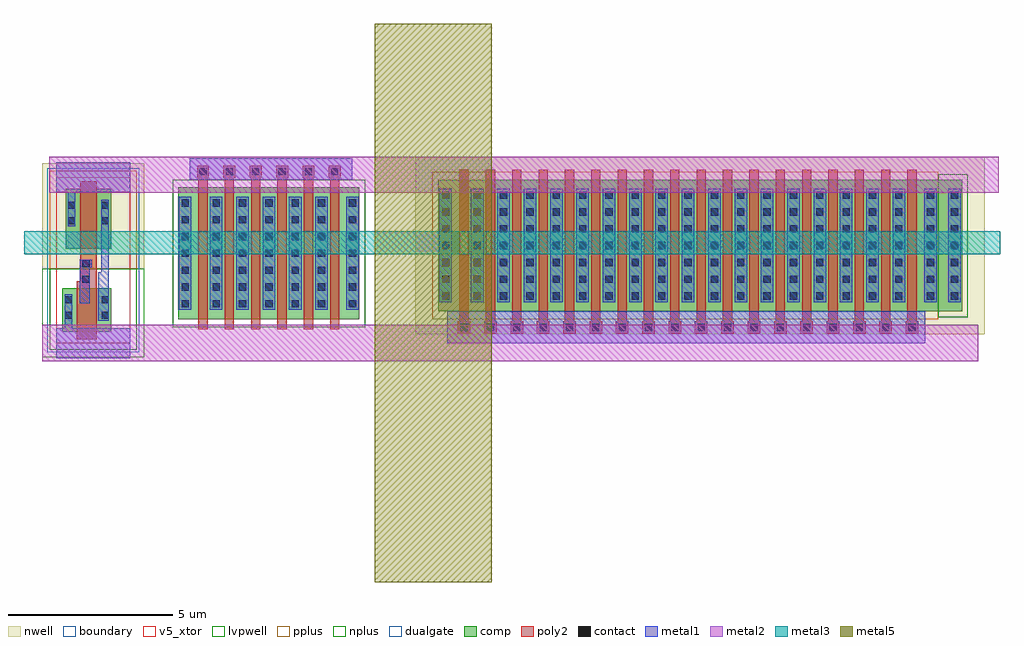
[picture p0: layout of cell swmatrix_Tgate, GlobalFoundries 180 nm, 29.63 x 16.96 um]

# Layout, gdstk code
import gdstk
lib = gdstk.Library(unit=1e-6, precision=1e-09)
def R(c, l, rs):  # rectangles x0, y0, x1, y1
    for r in rs: c.add(gdstk.rectangle(r[:2], r[2:], *l))
def A(c, l, x, y, w, h, nx, ny, dx, dy):  # array of equal rectangles
    R(c, l, [(x+i*dx, y+j*dy, x+i*dx+w, y+j*dy+h) for i in range(nx) for j in range(ny)])
def P(c, l, *ps):  # polygons
    for p in ps: c.add(gdstk.Polygon(p, *l))
boundary = (0, 0)
nwell = (21, 0)
comp = (22, 0)
poly2 = (30, 0)
pplus = (31, 0)
nplus = (32, 0)
contact = (33, 0)
metal1 = (34, 0)
metal2 = (36, 0)
metal3 = (42, 0)
dualgate = (55, 0)
metal5 = (81, 0)
v5_xtor = (112, 1)
lvpwell = (204, 0)

gf180mcu_fd_sc_mcu9t5v0_ = lib.new_cell('gf180mcu_fd_sc_mcu9t5v0__inv_1')
R(gf180mcu_fd_sc_mcu9t5v0_, boundary, [(0,0,2.24,5.04)])
R(gf180mcu_fd_sc_mcu9t5v0_, nwell, [(-0.43,2.265,2.67,5.47)])
R(gf180mcu_fd_sc_mcu9t5v0_, comp, [(0.18,0.345,1.66,1.665), (0.28,2.865,1.66,4.695)])
P(gf180mcu_fd_sc_mcu9t5v0_, poly2, [(0.62,0.125),(0.62,1.885),(0.72,1.885),(0.72,4.915),(1.22,4.915),(1.22,0.125)])
R(gf180mcu_fd_sc_mcu9t5v0_, pplus, [(-0.2,2.265,2.44,5.24)])
R(gf180mcu_fd_sc_mcu9t5v0_, nplus, [(-0.2,-0.2,2.44,2.265)])
R(gf180mcu_fd_sc_mcu9t5v0_, contact, [(0.25,0.74,0.47,0.96), (1.37,0.74,1.59,0.96), (0.25,1.21,0.47,1.43), (1.37,1.21,1.59,1.43), (0.79,1.835,1.01,2.055), (0.79,2.305,1.01,2.525), (0.35,3.61,0.57,3.83), (1.37,3.61,1.59,3.83), (0.35,4.08,0.57,4.3), (1.37,4.08,1.59,4.3)])
P(gf180mcu_fd_sc_mcu9t5v0_, metal1, [(0.71,1.21),(0.71,2.53),(1.07,2.53),(1.07,2.3),(1.015,2.3),(1.015,1.21)],
  [(1.27,0.68),(1.27,2.15),(1.365,2.15),(1.365,4.36),(1.595,4.36),(1.595,0.68)],
  [(0,-0.45),(0,0.45),(0.245,0.45),(0.245,1.49),(0.475,1.49),(0.475,0.45),(2.24,0.45),(2.24,-0.45)],
  [(0.345,3.55),(0.345,4.59),(0,4.59),(0,5.49),(2.24,5.49),(2.24,4.59),(0.575,4.59),(0.575,3.55)])
R(gf180mcu_fd_sc_mcu9t5v0_, dualgate, [(-0.28,-0.28,2.52,5.32)])
R(gf180mcu_fd_sc_mcu9t5v0_, v5_xtor, [(0,0,2.24,5.04)])
R(gf180mcu_fd_sc_mcu9t5v0_, lvpwell, [(-0.43,-0.43,2.67,2.265)])
gf180mcu_fd_sc_mcu9t5v0_.add(gdstk.Label('I', (0.84,1.96), layer=34, texttype=10))
gf180mcu_fd_sc_mcu9t5v0_.add(gdstk.Label('VDD', (1.12,5.49), layer=34, texttype=10))
gf180mcu_fd_sc_mcu9t5v0_.add(gdstk.Label('VSS', (1.12,-0.45), layer=34, texttype=10))
gf180mcu_fd_sc_mcu9t5v0_.add(gdstk.Label('ZN', (1.4,1.96), layer=34, texttype=10))
gf180mcu_fd_sc_mcu9t5v0_.add(gdstk.Label('& Vendor GLOBALFOUNDRIES', (0,2), layer=63, texttype=63))
gf180mcu_fd_sc_mcu9t5v0_.add(gdstk.Label('& Product GF018hv5v_green_sc9', (0,1.5), layer=63, texttype=63))
gf180mcu_fd_sc_mcu9t5v0_.add(gdstk.Label('& Version 2015q2v2', (0,1), layer=63, texttype=63))
gf180mcu_fd_sc_mcu9t5v0_.add(gdstk.Label('& Metric 1.00', (0,0.5), layer=63, texttype=63))
gf180mcu_fd_sc_mcu9t5v0_.add(gdstk.Label('VNW', (0.345,3.92), layer=21, texttype=10))
gf180mcu_fd_sc_mcu9t5v0_.add(gdstk.Label('VPW', (0.34,-0.085), layer=204, texttype=10))

nfet_1 = lib.new_cell('nfet$1')
R(nfet_1, comp, [(-0.42,0,0,4), (0,0,4.66,4), (4.66,0,5.08,4)])
A(nfet_1, poly2, 0.19, -0.3, 0.28, 4.6, 6, 1, 0.8, 0)
A(nfet_1, poly2, 0.15, 4.3, 0.36, 0.36, 6, 1, 0.8, 0)
R(nfet_1, nplus, [(-0.59,-0.24,5.25,4.24)])
A(nfet_1, contact, -0.32, 0.36, 0.22, 0.22, 1, 7, 0, 0.51)
A(nfet_1, contact, 0.62, 0.36, 0.22, 0.22, 5, 7, 0.8, 0.51)
A(nfet_1, contact, 4.76, 0.36, 0.22, 0.22, 1, 7, 0, 0.51)
A(nfet_1, contact, 0.22, 4.37, 0.22, 0.22, 6, 1, 0.8, 0)
A(nfet_1, metal1, 0.54, 0.28, 0.38, 3.44, 5, 1, 0.8, 0)
A(nfet_1, metal1, 0.14, 4.289, 0.38, 0.382, 6, 1, 0.8, 0)
R(nfet_1, metal1, [(-0.4,0.28,-0.02,3.72), (4.68,0.28,5.06,3.72)])

pfet_1 = lib.new_cell('pfet$1')
R(pfet_1, nwell, [(-1.15,-0.69,16.14,4.69)])
R(pfet_1, comp, [(-0.46,0,0,4), (0,0,14.26,4), (14.26,0,14.72,4), (14.72,0,15.45,4)])
A(pfet_1, poly2, 0.19, -0.3, 0.28, 4.6, 18, 1, 0.8, 0)
A(pfet_1, poly2, 0.14, 4.3, 0.38, 0.38, 18, 1, 0.8, 0)
R(pfet_1, pplus, [(-0.63,-0.24,14.72,4.24)])
R(pfet_1, nplus, [(14.72,-0.17,15.62,4.17)])
A(pfet_1, contact, -0.34, 0.36, 0.22, 0.22, 1, 7, 0, 0.51)
A(pfet_1, contact, 0.62, 0.36, 0.22, 0.22, 17, 7, 0.8, 0.51)
A(pfet_1, contact, 14.38, 0.36, 0.22, 0.22, 1, 7, 0, 0.51)
A(pfet_1, contact, 15.11, 0.36, 0.22, 0.22, 1, 7, 0, 0.51)
A(pfet_1, contact, 0.22, 4.38, 0.22, 0.22, 18, 1, 0.8, 0)
A(pfet_1, metal1, 0.54, 0.28, 0.38, 3.44, 17, 1, 0.8, 0)
A(pfet_1, metal1, 0.14, 4.299, 0.38, 0.382, 18, 1, 0.8, 0)
R(pfet_1, metal1, [(-0.42,0.28,-0.04,3.72), (14.3,0.28,14.68,3.72), (15.03,0.28,15.41,3.72)])

swmatrix_tgate = lib.new_cell('swmatrix_Tgate')
R(swmatrix_tgate, metal1, [(3.14,2.87,17.65,3.84), (-4.68,7.845,0.25,8.485)])
R(swmatrix_tgate, metal2, [(-9.155,2.33,19.255,3.43), (-8.94,7.445,19.875,8.545)])
R(swmatrix_tgate, metal3, [(-9.71,5.57,19.92,6.28)])
R(swmatrix_tgate, metal5, [(0.935,-4.385,4.49,12.58)])
swmatrix_tgate.add(gdstk.Reference(gf180mcu_fd_sc_mcu9t5v0_, (-8.725,2.875)))
swmatrix_tgate.add(gdstk.Reference(nfet_1, (-4.605,3.605)))
swmatrix_tgate.add(gdstk.Reference(pfet_1, (3.32,7.84), x_reflection=True))

lib.write_gds('swmatrix_Tgate.gds')
